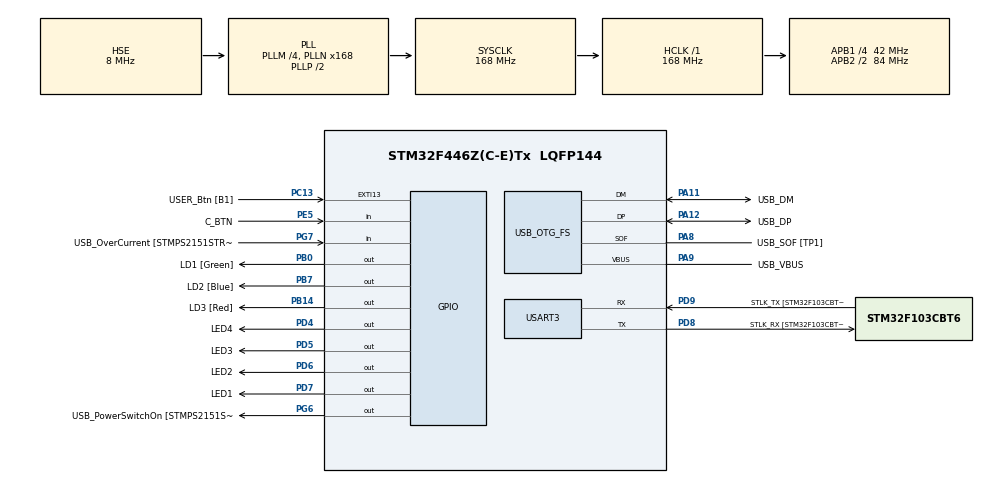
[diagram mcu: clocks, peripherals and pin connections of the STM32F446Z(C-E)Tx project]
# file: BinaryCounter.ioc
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Mcu.Family=STM32F4
Mcu.Name=STM32F446Z(C-E)Tx
Mcu.Package=LQFP144
NVIC.PriorityGroup=NVIC_PRIORITYGROUP_4
PA10.GPIO_Label=USB_ID
PA10.Signal=USB_OTG_FS_ID
PA11.GPIO_Label=USB_DM
PA11.Mode=Device_Only
PA11.Signal=USB_OTG_FS_DM
PA12.GPIO_Label=USB_DP
PA12.Mode=Device_Only
PA12.Signal=USB_OTG_FS_DP
PA13.GPIO_Label=TMS
PA13.Mode=Serial_Wire
PA13.Signal=SYS_JTMS-SWDIO
PA14.GPIO_Label=TCK
PA14.Mode=Serial_Wire
PA14.Signal=SYS_JTCK-SWCLK
PA8.GPIO_Label=USB_SOF [TP1]
PA8.Mode=Activate_SOF_FS
PA8.Signal=USB_OTG_FS_SOF
PA9.GPIO_Label=USB_VBUS
PA9.Mode=Activate_VBUS
PA9.Signal=USB_OTG_FS_VBUS
PB0.GPIO_Label=LD1 [Green]
PB0.Signal=GPIO_Output
PB14.GPIO_Label=LD3 [Red]
PB14.Signal=GPIO_Output
PB7.GPIO_Label=LD2 [Blue]
PB7.Signal=GPIO_Output
PC13.GPIO_Label=USER_Btn [B1]
PC13.Signal=GPXTI13
PC14-OSC32_IN.Mode=LSE-External-Oscillator
PC14-OSC32_IN.Signal=RCC_OSC32_IN
PC15-OSC32_OUT.Mode=LSE-External-Oscillator
PC15-OSC32_OUT.Signal=RCC_OSC32_OUT
PD4.GPIO_Label=LED4
PD4.Signal=GPIO_Output
PD5.GPIO_Label=LED3
PD5.Signal=GPIO_Output
PD6.GPIO_Label=LED2
PD6.Signal=GPIO_Output
PD7.GPIO_Label=LED1
PD7.Signal=GPIO_Output
PD8.GPIO_Label=STLK_RX [STM32F103CBT6_PA3]
PD8.Mode=Asynchronous
PD8.Signal=USART3_TX
PD9.GPIO_Label=STLK_TX [STM32F103CBT6_PA2]
PD9.Mode=Asynchronous
PD9.Signal=USART3_RX
PE5.GPIO_Label=C_BTN
PE5.Signal=GPIO_Input
PG6.GPIO_Label=USB_PowerSwitchOn [STMPS2151STR_EN]
PG6.Signal=GPIO_Output
PG7.GPIO_Label=USB_OverCurrent [STMPS2151STR_FAULT]
PG7.Signal=GPIO_Input
PH0-OSC_IN.GPIO_Label=MCO [STM32F103CBT6_PA8]
PH0-OSC_IN.Mode=HSE-External-Clock-Source
PH0-OSC_IN.Signal=RCC_OSC_IN
PH1-OSC_OUT.Mode=HSE-External-Clock-Source
PH1-OSC_OUT.Signal=RCC_OSC_OUT
ProjectManager.HeapSize=0x200
ProjectManager.StackSize=0x400
ProjectManager.TargetToolchain=STM32CubeIDE
RCC.48MHZClocksFreq_Value=24000000
RCC.AHBFreq_Value=168000000
RCC.APB1CLKDivider=RCC_HCLK_DIV4
RCC.APB1Freq_Value=42000000
RCC.APB1TimFreq_Value=84000000
RCC.APB2CLKDivider=RCC_HCLK_DIV2
RCC.APB2Freq_Value=84000000
RCC.APB2TimFreq_Value=168000000
RCC.CortexFreq_Value=168000000
RCC.HCLKFreq_Value=168000000
RCC.HSE_VALUE=8000000
RCC.HSI_VALUE=16000000
RCC.PLLM=4
RCC.PLLMUL=RCC_PLL_MUL9
RCC.PLLN=168
RCC.PLLQ=7
RCC.PRESCALERUSB=RCC_USBCLKSOURCE_PLL_DIV1_5
RCC.SYSCLKFreq_VALUE=168000000
RCC.SYSCLKSource=RCC_SYSCLKSOURCE_PLLCLK
RCC.SYSCLKSourceVirtual=RCC_SYSCLKSOURCE_PLLCLK
RCC.USBFreq_Value=48000000
RCC.VCOOutputFreq_Value=336000000
USART3.VirtualMode=VM_ASYNC
USB_OTG_FS.VirtualMode=Device_Only
board=NUCLEO-F446ZE

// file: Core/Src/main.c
/* USER CODE BEGIN Header */
/**
  ******************************************************************************
  * @file           : main.c
  * @brief          : Main program body
  ******************************************************************************
  * @attention
  *
  * Copyright (c) 2026 STMicroelectronics.
  * All rights reserved.
  *
  * This software is licensed under terms that can be found in the LICENSE file
  * in the root directory of this software component.
  * If no LICENSE file comes with this software, it is provided AS-IS.
  *
  ******************************************************************************
  */
/* USER CODE END Header */
#include "main.h"

UART_HandleTypeDef huart3;

PCD_HandleTypeDef hpcd_USB_OTG_FS;

void SystemClock_Config(void);
static void MX_GPIO_Init(void);
static void MX_USART3_UART_Init(void);
static void MX_USB_OTG_FS_PCD_Init(void);

/* USER CODE BEGIN 0 */

#define DEBOUNCE_DELAY_MS 50
#define BTN_STATE_UNPRESSED 1
#define BTN_STATE_PRESSED   0

uint8_t button_state = BTN_STATE_UNPRESSED;
uint8_t prev_button_state = BTN_STATE_UNPRESSED;
uint32_t last_debounce_time = 0;
uint8_t stable_btn_state = BTN_STATE_UNPRESSED;

/* USER CODE END 0 */

int main(void)
{

  /* MCU Configuration--------------------------------------------------------*/

  /* Reset of all peripherals, Initializes the Flash interface and the Systick. */
  HAL_Init();

  /* USER CODE BEGIN Init */
  int counter = 0;
  /* USER CODE END Init */

  /* Configure the system clock */
  SystemClock_Config();

  /* Initialize all configured peripherals */
  MX_GPIO_Init();
  MX_USART3_UART_Init();
  MX_USB_OTG_FS_PCD_Init();

  /* Infinite loop */
  while (1)
  {

    /* USER CODE BEGIN 3 */

	  uint8_t raw_btn = HAL_GPIO_ReadPin(C_BTN_GPIO_Port, C_BTN_Pin);
	    if (raw_btn != prev_button_state) {
	        last_debounce_time = HAL_GetTick();
	    }

	    if ((HAL_GetTick() - last_debounce_time) > DEBOUNCE_DELAY_MS) {
	        if (raw_btn != stable_btn_state) {
	            stable_btn_state = raw_btn;
	            if (stable_btn_state == BTN_STATE_PRESSED) {
	                counter = (counter + 1) % 16;
	            }
	        }
	    }
	prev_button_state = raw_btn;

	HAL_GPIO_WritePin(GPIOD, LED1_Pin, counter & 0x01 ? SET : RESET);
	HAL_GPIO_WritePin(GPIOD, LED2_Pin, counter & 0x02 ? SET : RESET);
	HAL_GPIO_WritePin(GPIOD, LED3_Pin, counter & 0x04 ? SET : RESET);
	HAL_GPIO_WritePin(GPIOD, LED4_Pin, counter & 0x08 ? SET : RESET);

	HAL_Delay(100);
  }
  /* USER CODE END 3 */
}

void SystemClock_Config(void)
{
  RCC_OscInitTypeDef RCC_OscInitStruct = {0};
  RCC_ClkInitTypeDef RCC_ClkInitStruct = {0};

  /** Configure the main internal regulator output voltage
  */
  __HAL_RCC_PWR_CLK_ENABLE();
  __HAL_PWR_VOLTAGESCALING_CONFIG(PWR_REGULATOR_VOLTAGE_SCALE1);

  /** Initializes the RCC Oscillators according to the specified parameters
  * in the RCC_OscInitTypeDef structure.
  */
  RCC_OscInitStruct.OscillatorType = RCC_OSCILLATORTYPE_HSE;
  RCC_OscInitStruct.HSEState = RCC_HSE_BYPASS;
  RCC_OscInitStruct.PLL.PLLState = RCC_PLL_ON;
  RCC_OscInitStruct.PLL.PLLSource = RCC_PLLSOURCE_HSE;
  RCC_OscInitStruct.PLL.PLLM = 4;
  RCC_OscInitStruct.PLL.PLLN = 168;
  RCC_OscInitStruct.PLL.PLLP = RCC_PLLP_DIV2;
  RCC_OscInitStruct.PLL.PLLQ = 7;
  RCC_OscInitStruct.PLL.PLLR = 2;
  if (HAL_RCC_OscConfig(&RCC_OscInitStruct) != HAL_OK)
  {
    Error_Handler();
  }

  /** Initializes the CPU, AHB and APB buses clocks
  */
  RCC_ClkInitStruct.ClockType = RCC_CLOCKTYPE_HCLK|RCC_CLOCKTYPE_SYSCLK
                              |RCC_CLOCKTYPE_PCLK1|RCC_CLOCKTYPE_PCLK2;
  RCC_ClkInitStruct.SYSCLKSource = RCC_SYSCLKSOURCE_PLLCLK;
  RCC_ClkInitStruct.AHBCLKDivider = RCC_SYSCLK_DIV1;
  RCC_ClkInitStruct.APB1CLKDivider = RCC_HCLK_DIV4;
  RCC_ClkInitStruct.APB2CLKDivider = RCC_HCLK_DIV2;

  if (HAL_RCC_ClockConfig(&RCC_ClkInitStruct, FLASH_LATENCY_5) != HAL_OK)
  {
    Error_Handler();
  }
}

static void MX_USART3_UART_Init(void)
{

  huart3.Instance = USART3;
  huart3.Init.BaudRate = 115200;
  huart3.Init.WordLength = UART_WORDLENGTH_8B;
  huart3.Init.StopBits = UART_STOPBITS_1;
  huart3.Init.Parity = UART_PARITY_NONE;
  huart3.Init.Mode = UART_MODE_TX_RX;
  huart3.Init.HwFlowCtl = UART_HWCONTROL_NONE;
  huart3.Init.OverSampling = UART_OVERSAMPLING_16;
  if (HAL_UART_Init(&huart3) != HAL_OK)
  {
    Error_Handler();
  }

}

static void MX_USB_OTG_FS_PCD_Init(void)
{

  hpcd_USB_OTG_FS.Instance = USB_OTG_FS;
  hpcd_USB_OTG_FS.Init.dev_endpoints = 6;
  hpcd_USB_OTG_FS.Init.speed = PCD_SPEED_FULL;
  hpcd_USB_OTG_FS.Init.dma_enable = DISABLE;
  hpcd_USB_OTG_FS.Init.phy_itface = PCD_PHY_EMBEDDED;
  hpcd_USB_OTG_FS.Init.Sof_enable = ENABLE;
  hpcd_USB_OTG_FS.Init.low_power_enable = DISABLE;
  hpcd_USB_OTG_FS.Init.lpm_enable = DISABLE;
  hpcd_USB_OTG_FS.Init.vbus_sensing_enable = ENABLE;
  hpcd_USB_OTG_FS.Init.use_dedicated_ep1 = DISABLE;
  if (HAL_PCD_Init(&hpcd_USB_OTG_FS) != HAL_OK)
  {
    Error_Handler();
  }

}

static void MX_GPIO_Init(void)
{
  GPIO_InitTypeDef GPIO_InitStruct = {0};

  /* GPIO Ports Clock Enable */
  __HAL_RCC_GPIOE_CLK_ENABLE();
  __HAL_RCC_GPIOC_CLK_ENABLE();
  __HAL_RCC_GPIOH_CLK_ENABLE();
  __HAL_RCC_GPIOB_CLK_ENABLE();
  __HAL_RCC_GPIOD_CLK_ENABLE();
  __HAL_RCC_GPIOG_CLK_ENABLE();
  __HAL_RCC_GPIOA_CLK_ENABLE();

  /*Configure GPIO pin Output Level */
  HAL_GPIO_WritePin(GPIOB, LD1_Pin|LD3_Pin|LD2_Pin, GPIO_PIN_RESET);

  /*Configure GPIO pin Output Level */
  HAL_GPIO_WritePin(USB_PowerSwitchOn_GPIO_Port, USB_PowerSwitchOn_Pin, GPIO_PIN_RESET);

  /*Configure GPIO pin Output Level */
  HAL_GPIO_WritePin(GPIOD, LED4_Pin|LED3_Pin|LED2_Pin|LED1_Pin, GPIO_PIN_RESET);

  /*Configure GPIO pin : C_BTN_Pin */
  GPIO_InitStruct.Pin = C_BTN_Pin;
  GPIO_InitStruct.Mode = GPIO_MODE_INPUT;
  GPIO_InitStruct.Pull = GPIO_NOPULL;
  HAL_GPIO_Init(C_BTN_GPIO_Port, &GPIO_InitStruct);

  /*Configure GPIO pin : USER_Btn_Pin */
  GPIO_InitStruct.Pin = USER_Btn_Pin;
  GPIO_InitStruct.Mode = GPIO_MODE_IT_RISING;
  GPIO_InitStruct.Pull = GPIO_NOPULL;
  HAL_GPIO_Init(USER_Btn_GPIO_Port, &GPIO_InitStruct);

  /*Configure GPIO pins : LD1_Pin LD3_Pin LD2_Pin */
  GPIO_InitStruct.Pin = LD1_Pin|LD3_Pin|LD2_Pin;
  GPIO_InitStruct.Mode = GPIO_MODE_OUTPUT_PP;
  GPIO_InitStruct.Pull = GPIO_NOPULL;
  GPIO_InitStruct.Speed = GPIO_SPEED_FREQ_LOW;
  HAL_GPIO_Init(GPIOB, &GPIO_InitStruct);

  /*Configure GPIO pin : USB_PowerSwitchOn_Pin */
  GPIO_InitStruct.Pin = USB_PowerSwitchOn_Pin;
  GPIO_InitStruct.Mode = GPIO_MODE_OUTPUT_PP;
  GPIO_InitStruct.Pull = GPIO_NOPULL;
  GPIO_InitStruct.Speed = GPIO_SPEED_FREQ_LOW;
  HAL_GPIO_Init(USB_PowerSwitchOn_GPIO_Port, &GPIO_InitStruct);

  /*Configure GPIO pin : USB_OverCurrent_Pin */
  GPIO_InitStruct.Pin = USB_OverCurrent_Pin;
  GPIO_InitStruct.Mode = GPIO_MODE_INPUT;
  GPIO_InitStruct.Pull = GPIO_NOPULL;
  HAL_GPIO_Init(USB_OverCurrent_GPIO_Port, &GPIO_InitStruct);

  /*Configure GPIO pins : LED4_Pin LED3_Pin LED2_Pin LED1_Pin */
  GPIO_InitStruct.Pin = LED4_Pin|LED3_Pin|LED2_Pin|LED1_Pin;
  GPIO_InitStruct.Mode = GPIO_MODE_OUTPUT_PP;
  GPIO_InitStruct.Pull = GPIO_NOPULL;
  GPIO_InitStruct.Speed = GPIO_SPEED_FREQ_LOW;
  HAL_GPIO_Init(GPIOD, &GPIO_InitStruct);

}

void Error_Handler(void)
{
  __disable_irq();
  while (1)
  {
  }
}
